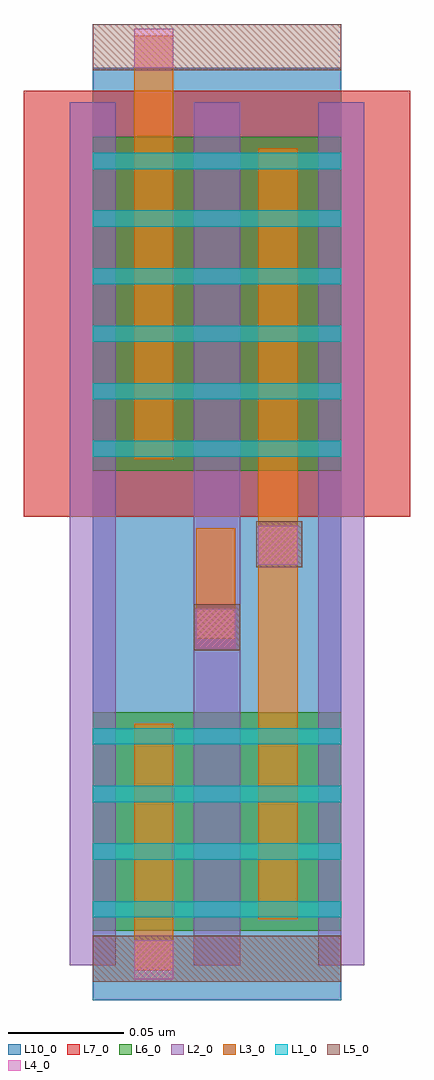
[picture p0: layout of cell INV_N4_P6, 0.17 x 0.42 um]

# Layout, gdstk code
import gdstk
lib = gdstk.Library(unit=1e-6, precision=1e-09)
def R(c, l, rs):  # rectangles x0, y0, x1, y1
    for r in rs: c.add(gdstk.rectangle(r[:2], r[2:], *l))
def A(c, l, x, y, w, h, nx, ny, dx, dy):  # array of equal rectangles
    R(c, l, [(x+i*dx, y+j*dy, x+i*dx+w, y+j*dy+h) for i in range(nx) for j in range(ny)])
L1_0 = (1, 0)
L2_0 = (2, 0)
L3_0 = (3, 0)
L4_0 = (4, 0)
L5_0 = (5, 0)
L6_0 = (6, 0)
L7_0 = (7, 0)
L10_0 = (10, 0)

inv_n4_p6 = lib.new_cell('INV_N4_P6')
A(inv_n4_p6, L1_0, 0, 0.036, 0.108, 0.007, 1, 4, 0, 0.025)
A(inv_n4_p6, L1_0, 0, 0.236, 0.108, 0.007, 1, 6, 0, 0.025)
A(inv_n4_p6, L2_0, -0.01, 0.015, 0.02, 0.375, 3, 1, 0.054, 0)
R(inv_n4_p6, L3_0, [(0.018,0.013,0.035,0.12), (0.072,0.035,0.089,0.203), (0.045,0.157,0.062,0.205), (0.072,0.193,0.089,0.37), (0.018,0.235,0.035,0.419)])
R(inv_n4_p6, L4_0, [(0.018,0.009,0.035,0.026), (0.045,0.153,0.062,0.17), (0.072,0.189,0.089,0.206), (0.018,0.405,0.035,0.422)])
R(inv_n4_p6, L5_0, [(0,0.008,0.108,0.028), (0.044,0.152,0.064,0.172), (0.071,0.188,0.091,0.208), (0,0.404,0.108,0.424)])
R(inv_n4_p6, L6_0, [(0,0.03,0.108,0.125), (0,0.23,0.108,0.375)])
R(inv_n4_p6, L7_0, [(-0.03,0.21,0.138,0.395)])
R(inv_n4_p6, L10_0, [(0,0,0.108,0.405)])

lib.write_gds('INV_N4_P6.gds')
